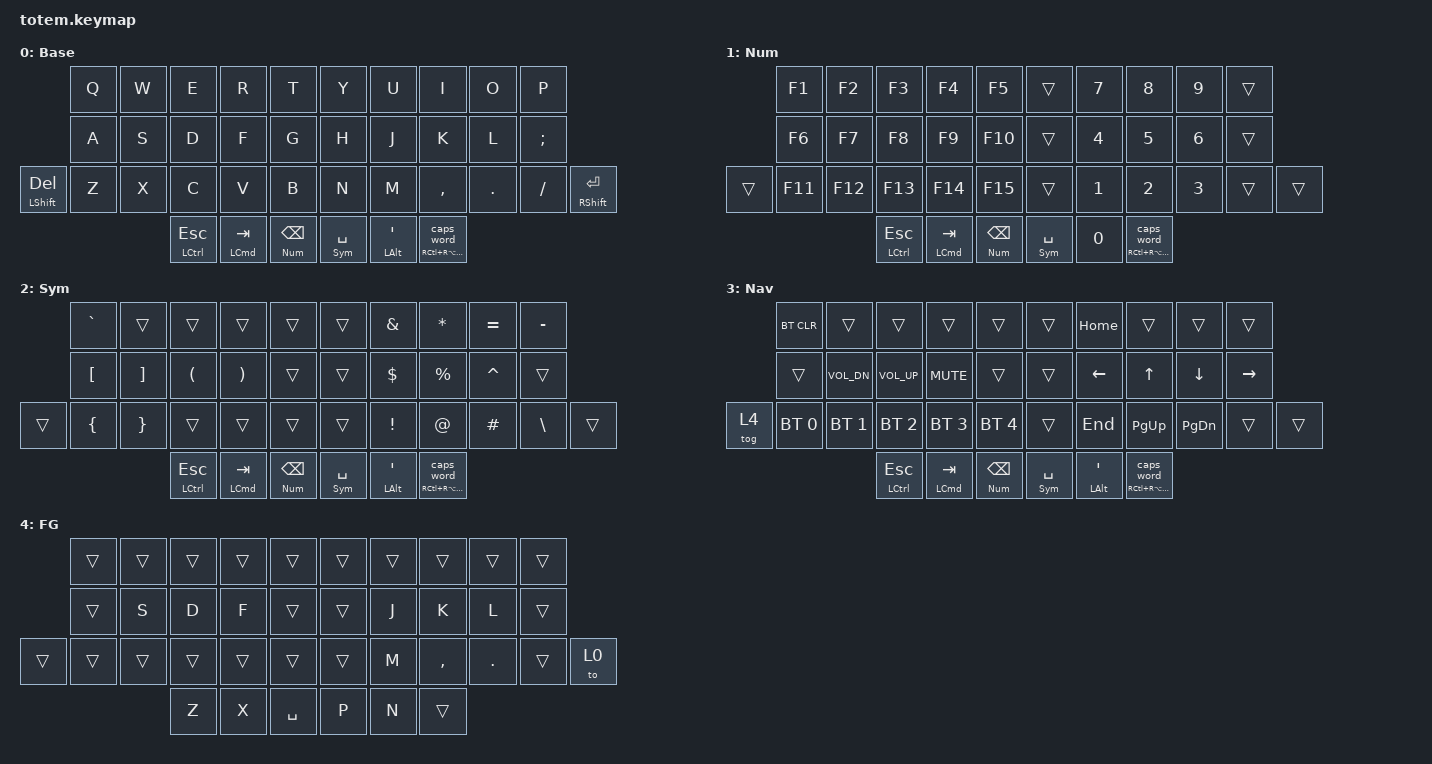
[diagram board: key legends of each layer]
//
//                                                        ▀▀▀▀▀     ▀▀▀▀▀          ▀▀█▀▀
//                                                        ▄▀▀▀▄  ▄  ▄▀▀▀▄  ▄  ▄▀▀▀▄  █  ▄▀▀▀▄
//                                                        █   █  █  █   █  █  █   █  █  █   █
//                                                         ▀▀▀   █   ▀▀▀   █   ▀▀▀   ▀   ▀▀▀
//                                                               █      ▄▄▄█▄▄▄    █   █  
//                                                               ▀      █  █  █     █▄█
//                                                             ▀▀▀▀▀    █  █  █      ▀
//                                                                      ▀  ▀  ▀
//
// ▄▄▄▄▄▄▄▄▄▄▄▄▄▄▄▄▄▄▄▄▄▄▄▄▄▄▄▄▄▄▄▄▄▄▄▄▄▄▄▄▄▄▄▄▄▄▄▄▄▄▄▄▄▄▄▄▄▄▄▄▄▄▄▄▄▄▄▄▄▄▄▄▄▄▄▄▄▄▄▄▄▄▄▄▄▄▄▄▄▄▄▄▄▄▄▄▄▄▄▄▄▄▄▄▄▄▄▄▄▄▄▄▄▄▄▄▄▄▄▄▄▄▄▄▄▄▄▄▄▄▄▄▄▄▄▄▄▄▄▄▄▄▄▄▄▄▄▄▄

#include <behaviors.dtsi>
#include <dt-bindings/zmk/bt.h>
#include <dt-bindings/zmk/keys.h>

#define Base        0
#define Num         1
#define Sym         2
#define Nav         3

#define BT(n) BT_SEL n

&mt {
    tapping-term-ms = <150>;
    flavor = "hold-preferred";
};

// Using layer taps on thumbs, having quick tap as well helps w/ repeating space/backspace

&lt {
    flavor = "balanced";
    quick-tap-ms = <25>;
};

/ {
    behaviors {
        hypr: hyper_combo_key_repeat {
            compatible = "zmk,behavior-hold-tap";
            #binding-cells = <2>;
            retro-tap;
            tapping-term-ms = <75>;
            quick-tap-ms = <50>;
            bindings = <&kp>, <&key_repeat>;
        };

        meh: meh_combo_caps_word {
            compatible = "zmk,behavior-hold-tap";
            #binding-cells = <2>;
            retro-tap;
            tapping-term-ms = <75>;
            quick-tap-ms = <50>;
            bindings = <&kp>, <&caps_word>;
        };
    };

    combos {
        compatible = "zmk,combos";

        combo_undo {
            timeout-ms = <25>;
            key-positions = <21 22>;
            layers = <0>;
            bindings = <&kp LG(Z)>;
        };

        combo_cut {
            timeout-ms = <25>;
            key-positions = <10 11>;
            layers = <0>;
            bindings = <&kp LG(X)>;
        };

        combo_copy {
            timeout-ms = <25>;
            key-positions = <12 13>;
            layers = <0>;
            bindings = <&kp LG(C)>;
        };

        combo_paste {
            timeout-ms = <25>;
            key-positions = <23 24>;
            layers = <0>;
            bindings = <&kp LG(V)>;
        };

        combo_left {
            timeout-ms = <25>;
            key-positions = <16 17>;
            layers = <0>;
            bindings = <&kp LEFT>;
        };

        combo_right {
            timeout-ms = <25>;
            key-positions = <17 18>;
            layers = <0>;
            bindings = <&kp RIGHT>;
        };

        combo_up {
            timeout-ms = <25>;
            key-positions = <7 8>;
            layers = <0>;
            bindings = <&kp UP>;
        };

        combo_down {
            timeout-ms = <25>;
            key-positions = <28 29>;
            layers = <0>;
            bindings = <&kp DOWN>;
        };

        combo_end {
            timeout-ms = <25>;
            key-positions = <27 28>;
            layers = <0>;
            bindings = <&kp END>;
        };

        combo_home {
            timeout-ms = <25>;
            key-positions = <6 7>;
            layers = <0>;
            bindings = <&kp HOME>;
        };

        combo_tab {
            bindings = <&kp TAB>;
            key-positions = <11 13>;
            timeout-ms = <25>;
            layers = <0>;
        };

        combo_grave {
            bindings = <&kp GRAVE>;
            key-positions = <22 24>;
        };
    };

    conditional_layers {
        compatible = "zmk,conditional-layers";

        tri_layer {
            if-layers = <Num Sym>;
            then-layer = <Nav>;
        };
    };

    keymap {
        compatible = "zmk,keymap";

        Base {
            label = "Base";
            bindings = <
                &kp Q  &kp W  &kp E          &kp R         &kp T           &kp Y          &kp U         &kp I                 &kp O    &kp P
                &kp A  &kp S  &kp D          &kp F         &kp G           &kp H          &kp J         &kp K                 &kp L    &kp SEMICOLON
&mt LSHIFT DEL  &kp Z  &kp X  &kp C          &kp V         &kp B           &kp N          &kp M         &kp COMMA             &kp DOT  &kp FSLH       &mt RSHIFT RET
                              &mt LCTRL ESC  &mt LCMD TAB  &lt Num BSPC    &lt Sym SPACE  &mt LALT SQT  &meh RC(RA(RSHFT)) 0
            >;
        };

        Num {
            label = "Num";
            bindings = <
        &kp F1   &kp F2   &kp F3         &kp F4        &kp F5          &trans         &kp N7  &kp N8                &kp N9  &trans
        &kp F6   &kp F7   &kp F8         &kp F9        &kp F10         &trans         &kp N4  &kp N5                &kp N6  &trans
&trans  &kp F11  &kp F12  &kp F13        &kp F14       &kp F15         &trans         &kp N1  &kp N2                &kp N3  &trans  &trans
                          &mt LCTRL ESC  &mt LCMD TAB  &lt Num BSPC    &lt Sym SPACE  &kp N0  &meh RC(RA(RSHFT)) 0
            >;
        };

        Sym {
            label = "Sym";
            bindings = <
        &kp GRAVE  &trans    &trans         &trans        &trans          &trans         &kp AMPS      &kp STAR              &kp EQUAL  &kp MINUS
        &kp LBKT   &kp RBKT  &kp LPAR       &kp RPAR      &trans          &trans         &kp DLLR      &kp PRCNT             &kp CARET  &trans
&trans  &kp LBRC   &kp RBRC  &trans         &trans        &trans          &trans         &kp EXCL      &kp AT                &kp HASH   &kp BACKSLASH  &trans
                             &mt LCTRL ESC  &mt LCMD TAB  &lt Num BSPC    &lt Sym SPACE  &mt LALT SQT  &meh RC(RA(RSHFT)) 0
            >;
        };

        Nav {
            label = "Nav";
            bindings = <
        &bt BT_CLR    &trans        &trans         &trans        &trans          &trans         &kp HOME      &trans                &trans     &trans
        &trans        &kp C_VOL_DN  &kp C_VOL_UP   &kp C_MUTE    &trans          &trans         &kp LEFT      &kp UP                &kp DOWN   &kp RIGHT
&tog 4  &bt BT_SEL 0  &bt BT_SEL 1  &bt BT_SEL 2   &bt BT_SEL 3  &bt BT_SEL 4    &trans         &kp END       &kp PG_UP             &kp PG_DN  &trans     &trans
                                    &mt LCTRL ESC  &mt LCMD TAB  &lt Num BSPC    &lt Sym SPACE  &mt LALT SQT  &meh RC(RA(RSHFT)) 0
            >;
        };

        FG {
            bindings = <
        &trans  &trans  &trans  &trans  &trans       &trans  &trans  &trans     &trans      &trans
        &trans  &kp S   &kp D   &kp F   &trans       &trans  &kp J   &kp K      &kp L       &trans
&trans  &trans  &trans  &trans  &trans  &trans       &trans  &kp M   &kp COMMA  &kp PERIOD  &trans  &to 0
                        &kp Z   &kp X   &kp SPACE    &kp P   &kp N   &trans
            >;
        };
    };
};
